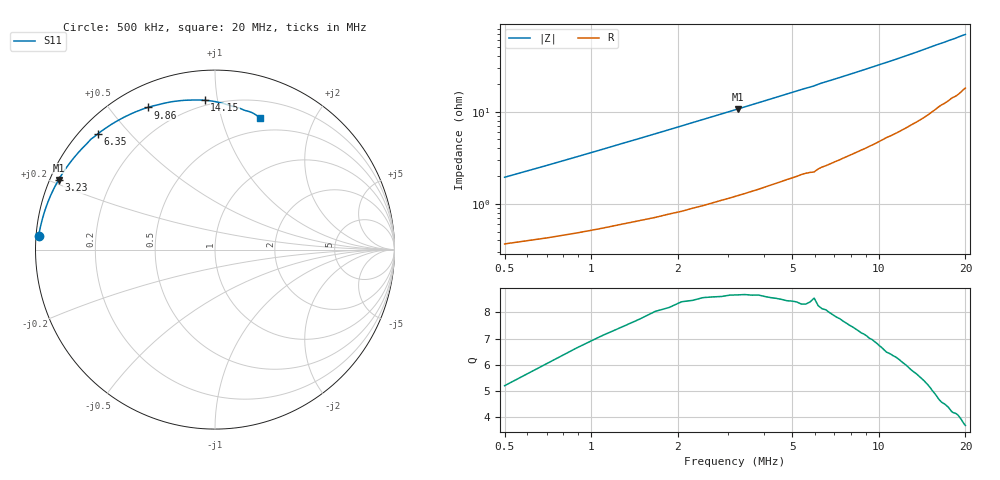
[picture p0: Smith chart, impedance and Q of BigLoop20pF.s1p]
# HZ S RI R 50
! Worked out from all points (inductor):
!   101 points, 500 kHz to 20 MHz, reference 50 ohm
!   read as one part to ground: L = 586 nH near 500 kHz
!   highest Q = 8.67 at 3.23 MHz (marker M1), where L = 524 nH
!   S11 on the Smith chart (normalised r, x): 500 kHz: 0.01, +0.04; 3.23 MHz: 0.02, +0.21; 6.35 MHz: 0.05, +0.41; 9.86 MHz: 0.09, +0.63; 14.15 MHz: 0.17, +0.92; 20 MHz: 0.36, +1.33
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500000  -0.9826 0.0751
1085000  -0.9673 0.1494
1670000  -0.9472 0.2196
2255000  -0.9221 0.2864
3035000  -0.8825 0.3687
3230000  -0.8715 0.3884
3815000  -0.8365 0.4446
4400000  -0.7982 0.4966
4790000  -0.7711 0.5292
5375000  -0.7299 0.5739
5960000  -0.6916 0.6147
6350000  -0.6544 0.6432
7130000  -0.5942 0.6865
7910000  -0.5315 0.7243
8885000  -0.453 0.7629
9860000  -0.3743 0.7921
1.025e7  -0.3433 0.8009
1.1615e7  -0.2392 0.824
1.2785e7  -0.1525 0.8324
1.415e7  -0.0571 0.8319
1.5125e7  0.00747 0.8235
1.61e7  0.0653 0.8081
1.7075e7  0.1157 0.7945
1.766e7  0.1468 0.7838
1.8245e7  0.1722 0.7739
1.883e7  0.2023 0.7647
1.9415e7  0.2291 0.7497
2e7  0.2502 0.7342
